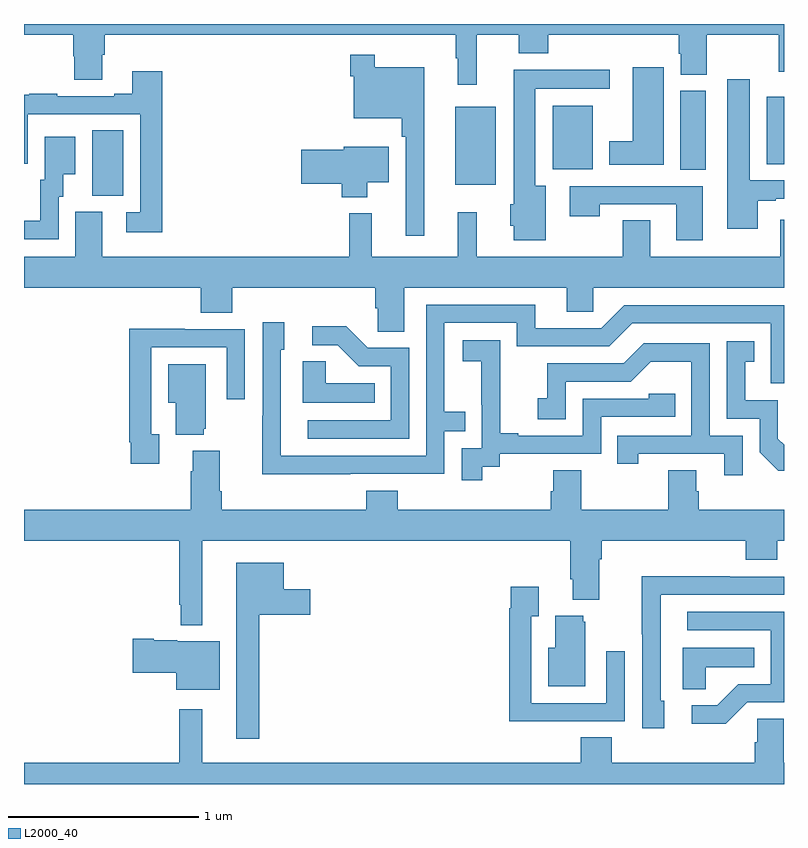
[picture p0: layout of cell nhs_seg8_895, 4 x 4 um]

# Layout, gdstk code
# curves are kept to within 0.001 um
import gdstk
lib = gdstk.Library(unit=1e-6, precision=1e-09)
def R(c, l, rs):  # rectangles x0, y0, x1, y1
    for r in rs: c.add(gdstk.rectangle(r[:2], r[2:], *l))
def P(c, l, *ps):  # polygons
    for p in ps: c.add(gdstk.Polygon(p, *l))
L2000_40 = (2000, 40)

nhs_seg8_895 = lib.new_cell('nhs_seg8_895')
R(nhs_seg8_895, L2000_40, [(169.358,1104.997,169.522,1105.34), (171.269,1105.055,171.484,1105.465), (172.454,1105.132,172.588,1105.548), (171.782,1105.136,171.994,1105.471), (172.91,1105.162,173,1105.516)])
P(nhs_seg8_895, L2000_40, [(171.384,1105.844),(171.605,1105.844),(171.605,1105.745),(171.758,1105.745),(171.758,1105.844),(172.445,1105.844),(172.445,1105.743),(172.457,1105.743),(172.457,1105.633),(172.593,1105.633),(172.593,1105.844),(172.972,1105.844),(172.972,1105.65),(173,1105.65),(173,1105.9),(169,1105.9),(169,1105.844),(169.259,1105.844),(169.259,1105.731),(169.264,1105.731),(169.264,1105.606),(169.411,1105.606),(169.411,1105.738),(169.424,1105.738),(169.424,1105.844),(171.273,1105.844),(171.273,1105.721),(171.284,1105.721),(171.284,1105.581),(171.384,1105.581)],
  [(171.106,1105.672),(170.845,1105.672),(170.845,1105.738),(170.716,1105.738),(170.716,1105.625),(170.736,1105.625),(170.736,1105.403),(170.989,1105.403),(170.989,1105.307),(171.009,1105.307),(171.009,1104.786),(171.106,1104.786)],
  [(172.366,1105.672),(172.205,1105.672),(172.205,1105.282),(172.079,1105.282),(172.079,1105.16),(172.366,1105.16)],
  [(171.745,1105.048),(171.691,1105.048),(171.691,1105.56),(172.084,1105.56),(172.084,1105.658),(171.578,1105.658),(171.578,1104.951),(171.56,1104.951),(171.56,1104.837),(171.578,1104.837),(171.578,1104.762),(171.745,1104.762)],
  [(169.727,1105.651),(169.571,1105.651),(169.571,1105.534),(169.475,1105.534),(169.475,1105.521),(169.175,1105.521),(169.175,1105.534),(169.027,1105.534),(169.027,1105.527),(169,1105.527),(169,1105.164),(169.02,1105.164),(169.02,1105.425),(169.611,1105.425),(169.611,1104.909),(169.539,1104.909),(169.539,1104.804),(169.727,1104.804)],
  [(172.861,1104.969),(172.957,1104.969),(172.957,1104.981),(173,1104.981),(173,1105.077),(172.819,1105.077),(172.819,1105.609),(172.7,1105.609),(172.7,1104.822),(172.861,1104.822)],
  [(169.182,1104.99),(169.207,1104.99),(169.207,1105.109),(169.27,1105.109),(169.27,1105.306),(169.109,1105.306),(169.109,1105.08),(169.085,1105.08),(169.085,1104.864),(169,1104.864),(169,1104.768),(169.182,1104.768)],
  [(170.806,1105.067),(170.92,1105.067),(170.92,1105.255),(170.684,1105.255),(170.684,1105.238),(170.46,1105.238),(170.46,1105.06),(170.672,1105.06),(170.672,1104.989),(170.806,1104.989)],
  [(172.573,1105.047),(171.873,1105.047),(171.873,1104.888),(172.029,1104.888),(172.029,1104.951),(172.433,1104.951),(172.433,1104.762),(172.573,1104.762)],
  [(171.001,1104.512),(171.857,1104.512),(171.857,1104.385),(171.996,1104.385),(171.996,1104.512),(173,1104.512),(173,1104.871),(172.979,1104.871),(172.979,1104.676),(172.297,1104.676),(172.297,1104.866),(172.15,1104.866),(172.15,1104.676),(171.382,1104.676),(171.382,1104.91),(171.284,1104.91),(171.284,1104.676),(170.831,1104.676),(170.831,1104.904),(170.713,1104.904),(170.713,1104.676),(169.411,1104.676),(169.411,1104.912),(169.271,1104.912),(169.271,1104.676),(169,1104.676),(169,1104.512),(169.931,1104.512),(169.931,1104.379),(170.096,1104.379),(170.096,1104.512),(170.849,1104.512),(170.849,1104.403),(170.862,1104.403),(170.862,1104.28),(171.001,1104.28)],
  [(170.717,1103.532),(171.213,1103.532),(171.213,1103.757),(171.323,1103.757),(171.323,1103.858),(171.213,1103.858),(171.213,1104.327),(171.594,1104.327),(171.594,1104.204),(172.08,1104.204),(172.2,1104.324),(172.929,1104.324),(172.929,1104.009),(173,1104.009),(173,1104.42),(172.158,1104.42),(172.038,1104.3),(171.691,1104.3),(171.691,1104.423),(171.117,1104.423),(171.117,1103.628),(170.352,1103.628),(170.352,1104.186),(170.371,1104.186),(170.371,1104.331),(170.256,1104.331),(170.256,1103.837),(170.254,1103.837),(170.254,1103.531)],
  [(171.027,1104.195),(170.808,1104.195),(170.695,1104.308),(170.517,1104.308),(170.517,1104.21),(170.651,1104.21),(170.762,1104.099),(170.931,1104.099),(170.931,1103.814),(170.493,1103.814),(170.493,1103.718),(171.027,1103.718)],
  [(169.711,1103.742),(169.671,1103.742),(169.671,1104.198),(170.067,1104.198),(170.067,1103.925),(170.163,1103.925),(170.163,1104.294),(169.847,1104.294),(169.847,1104.296),(169.555,1104.296),(169.555,1103.698),(169.563,1103.698),(169.563,1103.586),(169.711,1103.586)],
  [(171.412,1103.569),(171.504,1103.569),(171.504,1103.637),(172.038,1103.637),(172.038,1103.832),(172.427,1103.832),(172.427,1103.955),(172.287,1103.955),(172.287,1103.928),(171.942,1103.928),(171.942,1103.733),(171.601,1103.733),(171.601,1103.746),(171.506,1103.746),(171.506,1104.029),(171.507,1104.029),(171.507,1104.235),(171.309,1104.235),(171.309,1104.125),(171.407,1104.125),(171.407,1103.897),(171.408,1103.897),(171.408,1103.667),(171.303,1103.667),(171.303,1103.499),(171.412,1103.499)],
  [(173,1103.686),(172.968,1103.718),(172.968,1103.919),(172.795,1103.919),(172.795,1104.123),(172.844,1104.123),(172.844,1104.229),(172.698,1104.229),(172.698,1103.823),(172.872,1103.823),(172.872,1103.646),(172.97,1103.549),(173,1103.549)],
  [(172.782,1103.733),(172.608,1103.733),(172.608,1104.219),(172.262,1104.219),(172.157,1104.114),(171.754,1104.114),(171.754,1103.929),(171.705,1103.929),(171.705,1103.82),(171.852,1103.82),(171.852,1104.018),(172.194,1104.018),(172.298,1104.122),(172.512,1104.122),(172.512,1103.733),(172.123,1103.733),(172.123,1103.586),(172.234,1103.586),(172.234,1103.637),(172.685,1103.637),(172.685,1103.526),(172.782,1103.526)],
  [(170.846,1104.01),(170.589,1104.01),(170.589,1104.125),(170.468,1104.125),(170.468,1103.906),(170.846,1103.906)],
  [(169.946,1103.769),(169.957,1103.769),(169.957,1104.109),(169.76,1104.109),(169.76,1103.906),(169.799,1103.906),(169.799,1103.738),(169.946,1103.738)],
  [(169.939,1103.18),(171.875,1103.18),(171.875,1102.978),(171.887,1102.978),(171.887,1102.871),(172.027,1102.871),(172.027,1103.084),(172.04,1103.084),(172.04,1103.18),(172.799,1103.18),(172.799,1103.081),(172.964,1103.081),(172.964,1103.18),(173,1103.18),(173,1103.344),(172.55,1103.344),(172.55,1103.442),(172.537,1103.442),(172.537,1103.552),(172.39,1103.552),(172.39,1103.344),(171.933,1103.344),(171.933,1103.552),(171.785,1103.552),(171.785,1103.442),(171.773,1103.442),(171.773,1103.344),(170.966,1103.344),(170.966,1103.443),(170.801,1103.443),(170.801,1103.344),(170.042,1103.344),(170.042,1103.44),(170.029,1103.44),(170.029,1103.653),(169.889,1103.653),(169.889,1103.546),(169.877,1103.546),(169.877,1103.344),(169,1103.344),(169,1103.18),(169.818,1103.18),(169.818,1102.843),(169.825,1102.843),(169.825,1102.736),(169.939,1102.736)],
  [(170.239,1102.79),(170.506,1102.79),(170.506,1102.924),(170.368,1102.924),(170.368,1103.065),(170.117,1103.065),(170.117,1102.137),(170.239,1102.137)],
  [(172.369,1102.338),(172.35,1102.338),(172.35,1102.896),(173,1102.896),(173,1102.992),(172.715,1102.992),(172.715,1102.994),(172.252,1102.994),(172.252,1102.687),(172.254,1102.687),(172.254,1102.194),(172.369,1102.194)],
  [(171.845,1102.23),(172.161,1102.23),(172.161,1102.6),(172.065,1102.6),(172.065,1102.326),(171.669,1102.326),(171.669,1102.783),(171.709,1102.783),(171.709,1102.939),(171.561,1102.939),(171.561,1102.826),(171.553,1102.826),(171.553,1102.229),(171.845,1102.229)],
  [(172.806,1102.329),(173,1102.329),(173,1102.806),(172.491,1102.806),(172.491,1102.71),(172.929,1102.71),(172.929,1102.425),(172.76,1102.425),(172.649,1102.314),(172.515,1102.314),(172.515,1102.217),(172.693,1102.217)],
  [(171.955,1102.755),(171.944,1102.755),(171.944,1102.786),(171.797,1102.786),(171.797,1102.618),(171.758,1102.618),(171.758,1102.415),(171.955,1102.415)],
  [(170.029,1102.651),(169.806,1102.651),(169.806,1102.657),(169.684,1102.657),(169.684,1102.664),(169.572,1102.664),(169.572,1102.486),(169.802,1102.486),(169.802,1102.397),(170.029,1102.397)],
  [(172.587,1102.514),(172.844,1102.514),(172.844,1102.618),(172.466,1102.618),(172.466,1102.399),(172.587,1102.399)],
  [(173,1102.012),(172.999,1102.012),(172.999,1102.244),(172.86,1102.244),(172.86,1102.121),(172.847,1102.121),(172.847,1102.012),(172.094,1102.012),(172.094,1102.145),(171.929,1102.145),(171.929,1102.012),(169.939,1102.012),(169.939,1102.294),(169.818,1102.294),(169.818,1102.012),(169,1102.012),(169,1101.9),(173,1101.9)])

lib.write_gds('nhs_seg8_895.gds')
